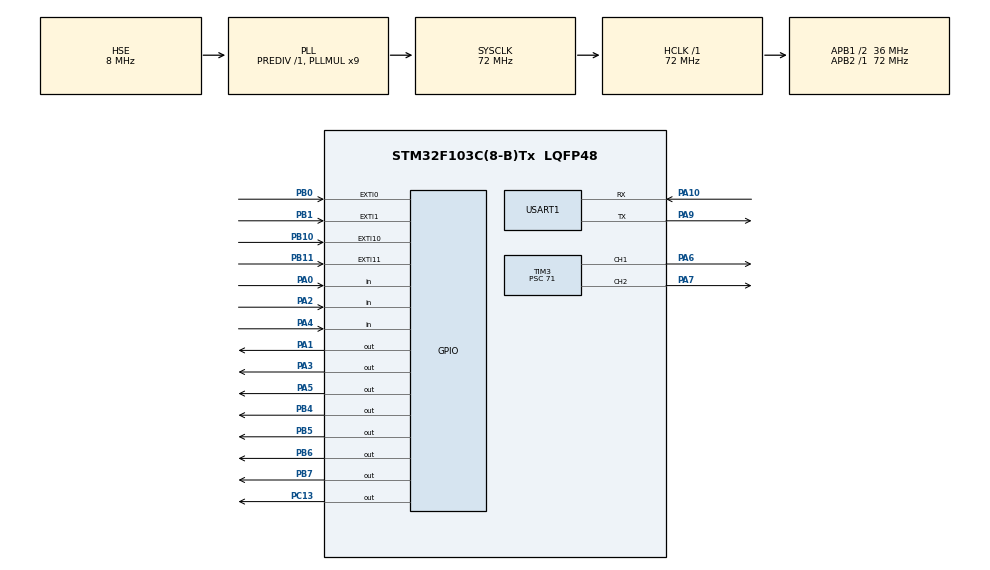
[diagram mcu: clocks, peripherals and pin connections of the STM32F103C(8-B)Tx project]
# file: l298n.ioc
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Dma.Request0=USART1_RX
Dma.USART1_RX.0.Direction=DMA_PERIPH_TO_MEMORY
Dma.USART1_RX.0.Instance=DMA1_Channel5
Dma.USART1_RX.0.MemDataAlignment=DMA_MDATAALIGN_BYTE
Dma.USART1_RX.0.MemInc=DMA_MINC_ENABLE
Dma.USART1_RX.0.Mode=DMA_CIRCULAR
Dma.USART1_RX.0.PeriphDataAlignment=DMA_PDATAALIGN_BYTE
Dma.USART1_RX.0.PeriphInc=DMA_PINC_DISABLE
Dma.USART1_RX.0.Priority=DMA_PRIORITY_LOW
Mcu.Family=STM32F1
Mcu.Name=STM32F103C(8-B)Tx
Mcu.Package=LQFP48
NVIC.DMA1_Channel5_IRQn=true\:0\:0\:false\:false\:true\:false\:true\:true
NVIC.EXTI0_IRQn=true\:1\:0\:true\:false\:true\:true\:true\:true
NVIC.EXTI15_10_IRQn=true\:1\:0\:true\:false\:true\:true\:true\:true
NVIC.EXTI1_IRQn=true\:1\:0\:true\:false\:true\:true\:true\:true
NVIC.PriorityGroup=NVIC_PRIORITYGROUP_4
NVIC.USART1_IRQn=true\:2\:0\:true\:false\:true\:true\:true\:true
PA0-WKUP.Signal=GPIO_Input
PA1.Signal=GPIO_Output
PA10.Mode=Asynchronous
PA10.Signal=USART1_RX
PA13.Mode=Serial_Wire
PA13.Signal=SYS_JTMS-SWDIO
PA14.Mode=Serial_Wire
PA14.Signal=SYS_JTCK-SWCLK
PA2.Signal=GPIO_Input
PA3.Signal=GPIO_Output
PA4.Signal=GPIO_Input
PA5.Signal=GPIO_Output
PA6.Signal=S_TIM3_CH1
PA7.Signal=S_TIM3_CH2
PA9.Mode=Asynchronous
PA9.Signal=USART1_TX
PB0.GPIO_ModeDefaultEXTI=GPIO_MODE_IT_FALLING
PB0.GPIO_PuPd=GPIO_PULLUP
PB0.Signal=GPXTI0
PB1.GPIO_ModeDefaultEXTI=GPIO_MODE_IT_FALLING
PB1.GPIO_PuPd=GPIO_PULLUP
PB1.Signal=GPXTI1
PB10.GPIO_ModeDefaultEXTI=GPIO_MODE_IT_FALLING
PB10.GPIO_PuPd=GPIO_PULLUP
PB10.Signal=GPXTI10
PB11.GPIO_ModeDefaultEXTI=GPIO_MODE_IT_FALLING
PB11.GPIO_PuPd=GPIO_PULLUP
PB11.Signal=GPXTI11
PB4.Signal=GPIO_Output
PB5.Signal=GPIO_Output
PB6.Signal=GPIO_Output
PB7.Signal=GPIO_Output
PC13-TAMPER-RTC.Signal=GPIO_Output
PD0-OSC_IN.Mode=HSE-External-Oscillator
PD0-OSC_IN.Signal=RCC_OSC_IN
PD1-OSC_OUT.Mode=HSE-External-Oscillator
PD1-OSC_OUT.Signal=RCC_OSC_OUT
ProjectManager.HeapSize=0x200
ProjectManager.StackSize=0x400
ProjectManager.TargetToolchain=MDK-ARM V5.32
RCC.AHBFreq_Value=72000000
RCC.APB1CLKDivider=RCC_HCLK_DIV2
RCC.APB1Freq_Value=36000000
RCC.APB1TimFreq_Value=72000000
RCC.APB2Freq_Value=72000000
RCC.APB2TimFreq_Value=72000000
RCC.HCLKFreq_Value=72000000
RCC.PLLMUL=RCC_PLL_MUL9
RCC.PLLSourceVirtual=RCC_PLLSOURCE_HSE
RCC.SYSCLKFreq_VALUE=72000000
RCC.SYSCLKSource=RCC_SYSCLKSOURCE_PLLCLK
RCC.USBFreq_Value=72000000
SH.S_TIM3_CH1.0=TIM3_CH1,PWM Generation1 CH1
SH.S_TIM3_CH2.0=TIM3_CH2,PWM Generation2 CH2
TIM2.Prescaler=71
TIM3.Channel-PWM\ Generation1\ CH1=TIM_CHANNEL_1
TIM3.Channel-PWM\ Generation2\ CH2=TIM_CHANNEL_2
TIM3.Period=99
TIM3.Prescaler=71
USART1.VirtualMode=VM_ASYNC
VP_TIM2_VS_ClockSourceINT.Mode=Internal
board=custom

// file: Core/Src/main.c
/* USER CODE BEGIN Header */
/**
  ******************************************************************************
  * @file           : main.c
  * @brief          : Main program body
  ******************************************************************************
  * @attention
  *
  * Copyright (c) 2026 STMicroelectronics.
  * All rights reserved.
  *
  * This software is licensed under terms that can be found in the LICENSE file
  * in the root directory of this software component.
  * If no LICENSE file comes with this software, it is provided AS-IS.
  *
  ******************************************************************************
  */
/* USER CODE END Header */
#include "main.h"

/* USER CODE BEGIN Includes */
#include "Motor.h"
#include "line_sensor.h"
#include "ultrasonic.h"
#include "fuzzy.h"
#include "Robot_Control.h"
#include "uart.h"
#include "message.h"
/* USER CODE END Includes */

/* USER CODE BEGIN PM */
float speed_multiplier = 0.0f;
/* USER CODE END PM */

TIM_HandleTypeDef htim2;
TIM_HandleTypeDef htim3;

UART_HandleTypeDef huart1;
DMA_HandleTypeDef hdma_usart1_rx;

void SystemClock_Config(void);
static void MX_GPIO_Init(void);
static void MX_DMA_Init(void);
static void MX_TIM3_Init(void);
static void MX_TIM2_Init(void);
static void MX_USART1_UART_Init(void);

int main(void)
{

  /* MCU Configuration--------------------------------------------------------*/

  /* Reset of all peripherals, Initializes the Flash interface and the Systick. */
  HAL_Init();

  /* Configure the system clock */
  SystemClock_Config();

  /* Initialize all configured peripherals */
  MX_GPIO_Init();
  MX_DMA_Init();
  MX_TIM3_Init();
  MX_TIM2_Init();
  MX_USART1_UART_Init();
  /* USER CODE BEGIN 2 */
	Motor_Init();
	Line_Init();
	Ultra_Init();
  /* USER CODE END 2 */

  /* Infinite loop */
  /* USER CODE BEGIN WHILE */
	volatile UltraState u;
	int uu = 0;
  while (1)
  {
    /* USER CODE END WHILE */

    /* USER CODE BEGIN 3 */
		if (speed_multiplier){
			uu++;
			Robot_Run();
		}
    if (data_ready_flag){
			data_ready_flag = 0;
			CMD_Process(main_buffer, rx_data_len);
		}
	}
  /* USER CODE END 3 */
}

void SystemClock_Config(void)
{
  RCC_OscInitTypeDef RCC_OscInitStruct = {0};
  RCC_ClkInitTypeDef RCC_ClkInitStruct = {0};

  /** Initializes the RCC Oscillators according to the specified parameters
  * in the RCC_OscInitTypeDef structure.
  */
  RCC_OscInitStruct.OscillatorType = RCC_OSCILLATORTYPE_HSE;
  RCC_OscInitStruct.HSEState = RCC_HSE_ON;
  RCC_OscInitStruct.HSEPredivValue = RCC_HSE_PREDIV_DIV1;
  RCC_OscInitStruct.HSIState = RCC_HSI_ON;
  RCC_OscInitStruct.PLL.PLLState = RCC_PLL_ON;
  RCC_OscInitStruct.PLL.PLLSource = RCC_PLLSOURCE_HSE;
  RCC_OscInitStruct.PLL.PLLMUL = RCC_PLL_MUL9;
  if (HAL_RCC_OscConfig(&RCC_OscInitStruct) != HAL_OK)
  {
    Error_Handler();
  }

  /** Initializes the CPU, AHB and APB buses clocks
  */
  RCC_ClkInitStruct.ClockType = RCC_CLOCKTYPE_HCLK|RCC_CLOCKTYPE_SYSCLK
                              |RCC_CLOCKTYPE_PCLK1|RCC_CLOCKTYPE_PCLK2;
  RCC_ClkInitStruct.SYSCLKSource = RCC_SYSCLKSOURCE_PLLCLK;
  RCC_ClkInitStruct.AHBCLKDivider = RCC_SYSCLK_DIV1;
  RCC_ClkInitStruct.APB1CLKDivider = RCC_HCLK_DIV2;
  RCC_ClkInitStruct.APB2CLKDivider = RCC_HCLK_DIV1;

  if (HAL_RCC_ClockConfig(&RCC_ClkInitStruct, FLASH_LATENCY_2) != HAL_OK)
  {
    Error_Handler();
  }
}

static void MX_TIM2_Init(void)
{

  TIM_ClockConfigTypeDef sClockSourceConfig = {0};
  TIM_MasterConfigTypeDef sMasterConfig = {0};

  htim2.Instance = TIM2;
  htim2.Init.Prescaler = 71;
  htim2.Init.CounterMode = TIM_COUNTERMODE_UP;
  htim2.Init.Period = 65535;
  htim2.Init.ClockDivision = TIM_CLOCKDIVISION_DIV1;
  htim2.Init.AutoReloadPreload = TIM_AUTORELOAD_PRELOAD_DISABLE;
  if (HAL_TIM_Base_Init(&htim2) != HAL_OK)
  {
    Error_Handler();
  }
  sClockSourceConfig.ClockSource = TIM_CLOCKSOURCE_INTERNAL;
  if (HAL_TIM_ConfigClockSource(&htim2, &sClockSourceConfig) != HAL_OK)
  {
    Error_Handler();
  }
  sMasterConfig.MasterOutputTrigger = TIM_TRGO_RESET;
  sMasterConfig.MasterSlaveMode = TIM_MASTERSLAVEMODE_DISABLE;
  if (HAL_TIMEx_MasterConfigSynchronization(&htim2, &sMasterConfig) != HAL_OK)
  {
    Error_Handler();
  }

}

static void MX_TIM3_Init(void)
{

  TIM_MasterConfigTypeDef sMasterConfig = {0};
  TIM_OC_InitTypeDef sConfigOC = {0};

  htim3.Instance = TIM3;
  htim3.Init.Prescaler = 71;
  htim3.Init.CounterMode = TIM_COUNTERMODE_UP;
  htim3.Init.Period = 99;
  htim3.Init.ClockDivision = TIM_CLOCKDIVISION_DIV1;
  htim3.Init.AutoReloadPreload = TIM_AUTORELOAD_PRELOAD_DISABLE;
  if (HAL_TIM_PWM_Init(&htim3) != HAL_OK)
  {
    Error_Handler();
  }
  sMasterConfig.MasterOutputTrigger = TIM_TRGO_RESET;
  sMasterConfig.MasterSlaveMode = TIM_MASTERSLAVEMODE_DISABLE;
  if (HAL_TIMEx_MasterConfigSynchronization(&htim3, &sMasterConfig) != HAL_OK)
  {
    Error_Handler();
  }
  sConfigOC.OCMode = TIM_OCMODE_PWM1;
  sConfigOC.Pulse = 0;
  sConfigOC.OCPolarity = TIM_OCPOLARITY_HIGH;
  sConfigOC.OCFastMode = TIM_OCFAST_DISABLE;
  if (HAL_TIM_PWM_ConfigChannel(&htim3, &sConfigOC, TIM_CHANNEL_1) != HAL_OK)
  {
    Error_Handler();
  }
  if (HAL_TIM_PWM_ConfigChannel(&htim3, &sConfigOC, TIM_CHANNEL_2) != HAL_OK)
  {
    Error_Handler();
  }
  HAL_TIM_MspPostInit(&htim3);

}

static void MX_USART1_UART_Init(void)
{

  huart1.Instance = USART1;
  huart1.Init.BaudRate = 115200;
  huart1.Init.WordLength = UART_WORDLENGTH_8B;
  huart1.Init.StopBits = UART_STOPBITS_1;
  huart1.Init.Parity = UART_PARITY_NONE;
  huart1.Init.Mode = UART_MODE_TX_RX;
  huart1.Init.HwFlowCtl = UART_HWCONTROL_NONE;
  huart1.Init.OverSampling = UART_OVERSAMPLING_16;
  if (HAL_UART_Init(&huart1) != HAL_OK)
  {
    Error_Handler();
  }

}

static void MX_DMA_Init(void)
{

  /* DMA controller clock enable */
  __HAL_RCC_DMA1_CLK_ENABLE();

  /* DMA interrupt init */
  /* DMA1_Channel5_IRQn interrupt configuration */
  HAL_NVIC_SetPriority(DMA1_Channel5_IRQn, 0, 0);
  HAL_NVIC_EnableIRQ(DMA1_Channel5_IRQn);

}

static void MX_GPIO_Init(void)
{
  GPIO_InitTypeDef GPIO_InitStruct = {0};

  /* GPIO Ports Clock Enable */
  __HAL_RCC_GPIOC_CLK_ENABLE();
  __HAL_RCC_GPIOD_CLK_ENABLE();
  __HAL_RCC_GPIOA_CLK_ENABLE();
  __HAL_RCC_GPIOB_CLK_ENABLE();

  /*Configure GPIO pin Output Level */
  HAL_GPIO_WritePin(GPIOC, GPIO_PIN_13, GPIO_PIN_RESET);

  /*Configure GPIO pin Output Level */
  HAL_GPIO_WritePin(GPIOA, GPIO_PIN_1|GPIO_PIN_3|GPIO_PIN_5, GPIO_PIN_RESET);

  /*Configure GPIO pin Output Level */
  HAL_GPIO_WritePin(GPIOB, GPIO_PIN_4|GPIO_PIN_5|GPIO_PIN_6|GPIO_PIN_7, GPIO_PIN_RESET);

  /*Configure GPIO pin : PC13 */
  GPIO_InitStruct.Pin = GPIO_PIN_13;
  GPIO_InitStruct.Mode = GPIO_MODE_OUTPUT_PP;
  GPIO_InitStruct.Pull = GPIO_NOPULL;
  GPIO_InitStruct.Speed = GPIO_SPEED_FREQ_LOW;
  HAL_GPIO_Init(GPIOC, &GPIO_InitStruct);

  /*Configure GPIO pins : PA0 PA2 PA4 */
  GPIO_InitStruct.Pin = GPIO_PIN_0|GPIO_PIN_2|GPIO_PIN_4;
  GPIO_InitStruct.Mode = GPIO_MODE_INPUT;
  GPIO_InitStruct.Pull = GPIO_NOPULL;
  HAL_GPIO_Init(GPIOA, &GPIO_InitStruct);

  /*Configure GPIO pins : PA1 PA3 PA5 */
  GPIO_InitStruct.Pin = GPIO_PIN_1|GPIO_PIN_3|GPIO_PIN_5;
  GPIO_InitStruct.Mode = GPIO_MODE_OUTPUT_PP;
  GPIO_InitStruct.Pull = GPIO_NOPULL;
  GPIO_InitStruct.Speed = GPIO_SPEED_FREQ_LOW;
  HAL_GPIO_Init(GPIOA, &GPIO_InitStruct);

  /*Configure GPIO pins : PB0 PB1 PB10 PB11 */
  GPIO_InitStruct.Pin = GPIO_PIN_0|GPIO_PIN_1|GPIO_PIN_10|GPIO_PIN_11;
  GPIO_InitStruct.Mode = GPIO_MODE_IT_FALLING;
  GPIO_InitStruct.Pull = GPIO_PULLUP;
  HAL_GPIO_Init(GPIOB, &GPIO_InitStruct);

  /*Configure GPIO pins : PB4 PB5 PB6 PB7 */
  GPIO_InitStruct.Pin = GPIO_PIN_4|GPIO_PIN_5|GPIO_PIN_6|GPIO_PIN_7;
  GPIO_InitStruct.Mode = GPIO_MODE_OUTPUT_PP;
  GPIO_InitStruct.Pull = GPIO_NOPULL;
  GPIO_InitStruct.Speed = GPIO_SPEED_FREQ_LOW;
  HAL_GPIO_Init(GPIOB, &GPIO_InitStruct);

  /* EXTI interrupt init*/
  HAL_NVIC_SetPriority(EXTI0_IRQn, 1, 0);
  HAL_NVIC_EnableIRQ(EXTI0_IRQn);

  HAL_NVIC_SetPriority(EXTI1_IRQn, 1, 0);
  HAL_NVIC_EnableIRQ(EXTI1_IRQn);

  HAL_NVIC_SetPriority(EXTI15_10_IRQn, 1, 0);
  HAL_NVIC_EnableIRQ(EXTI15_10_IRQn);

}

void Error_Handler(void)
{
  __disable_irq();
  while (1)
  {
  }
}
